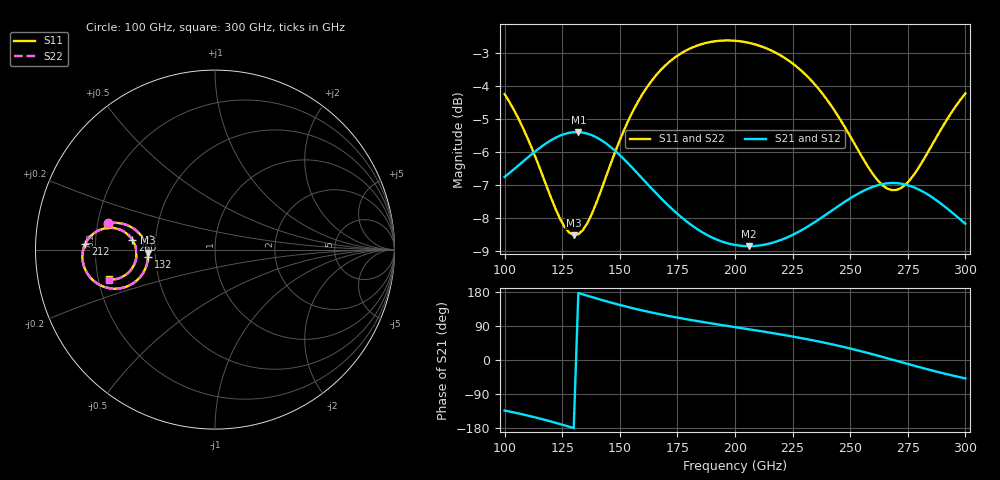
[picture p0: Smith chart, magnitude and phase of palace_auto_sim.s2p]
#  GHZ S DB R 50
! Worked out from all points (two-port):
!   101 points, 100 GHz to 300 GHz, reference 50 ohm
!   highest |S21| = -5.40 dB at 132 GHz (marker M1); lowest = -8.9 dB at 206 GHz (marker M2)
!   |S21| within 3 dB of the highest: start of sweep to 184.8 GHz; 228.4 GHz to end of sweep
!   lowest |S11| = -8.5 dB at 130 GHz (marker M3), VSWR 2.20, Z = 22.8 - j0.901 ohm
!   |S11| at or under -10 dB: nowhere
!   |S22| runs from -8.5 to -2.6 dB; largest |S21 - S12| = 5.4e-14
!   S11 on the Smith chart (normalised r, x): 100 GHz: 0.24, +0.11; 132 GHz: 0.45, -0.04; 212 GHz: 0.16, +0.02; 260 GHz: 0.37, +0.05; 300 GHz: 0.24, -0.13
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100  -4.24 166.3  -6.76 -133.4  -6.76 -133.4  -4.25 166.3
108  -5.28 164.4  -6.29 -143.7  -6.29 -143.7  -5.28 164.4
114  -6.27 164.9  -5.95 -152.5  -5.95 -152.5  -6.27 164.9
122  -7.71 170.3  -5.57 -165.5  -5.57 -165.5  -7.72 170.3
130  -8.53 -177.4  -5.40 -179.6  -5.40 -179.6  -8.54 -177.4
132  -8.50 -173.8  -5.40 176.7  -5.40 176.7  -8.51 -173.8
134  -8.37 -170.3  -5.41 173.1  -5.41 173.1  -8.38 -170.3
142  -7.14 -160.2  -5.65 158.7  -5.65 158.7  -7.15 -160.2
150  -5.64 -157.3  -6.10 145.3  -6.10 145.3  -5.65 -157.3
158  -4.46 -158.7  -6.68 133.2  -6.68 133.2  -4.46 -158.7
168  -3.49 -162.7  -7.42 120.1  -7.42 120.1  -3.50 -162.7
184  -2.76 -170.3  -8.36 102.4  -8.36 102.4  -2.76 -170.3
200  -2.62 -177.4  -8.83 86.8  -8.83 86.8  -2.63 -177.5
206  -2.68 180.0  -8.87 81.1  -8.87 81.1  -2.69 179.9
212  -2.81 177.5  -8.83 75.3  -8.83 75.3  -2.81 177.5
234  -3.90 169.7  -8.16 51.7  -8.16 51.7  -3.91 169.6
248  -5.29 168.1  -7.50 33.2  -7.50 33.2  -5.30 168.0
260  -6.69 173.4  -7.06 14.7  -7.06 14.7  -6.71 173.4
268  -7.16 -178.6  -6.95 1.4  -6.95 1.4  -7.19 -178.6
276  -6.85 -170.2  -7.03 -12.1  -7.03 -12.1  -6.87 -170.2
286  -5.73 -164.3  -7.40 -28.3  -7.40 -28.3  -5.75 -164.2
300  -4.22 -164.3  -8.18 -48.6  -8.18 -48.6  -4.23 -164.3
